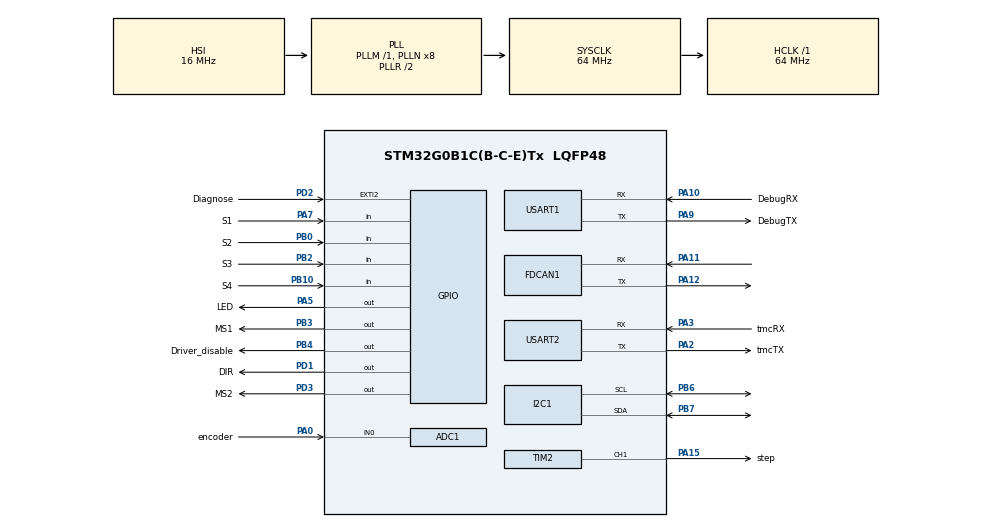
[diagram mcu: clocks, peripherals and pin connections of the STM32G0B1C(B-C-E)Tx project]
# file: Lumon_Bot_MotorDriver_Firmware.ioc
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ADC1.Channel-0\#ChannelRegularConversion=ADC_CHANNEL_0
ADC1.NbrOfConversionFlag=1
ADC1.Rank-0\#ChannelRegularConversion=1
ADC1.SamplingTime-0\#ChannelRegularConversion=ADC_SAMPLINGTIME_COMMON_1
ADC1.SelectedChannel=ADC_CHANNEL_0
ADC1.master=1
Dma.I2C1_RX.0.Direction=DMA_PERIPH_TO_MEMORY
Dma.I2C1_RX.0.EventEnable=DISABLE
Dma.I2C1_RX.0.Instance=DMA1_Channel1
Dma.I2C1_RX.0.MemDataAlignment=DMA_MDATAALIGN_BYTE
Dma.I2C1_RX.0.MemInc=DMA_MINC_ENABLE
Dma.I2C1_RX.0.Mode=DMA_NORMAL
Dma.I2C1_RX.0.PeriphDataAlignment=DMA_PDATAALIGN_BYTE
Dma.I2C1_RX.0.PeriphInc=DMA_PINC_DISABLE
Dma.I2C1_RX.0.Polarity=HAL_DMAMUX_REQ_GEN_RISING
Dma.I2C1_RX.0.Priority=DMA_PRIORITY_MEDIUM
Dma.I2C1_RX.0.RequestNumber=1
Dma.I2C1_RX.0.SignalID=NONE
Dma.I2C1_RX.0.SyncEnable=DISABLE
Dma.I2C1_RX.0.SyncPolarity=HAL_DMAMUX_SYNC_NO_EVENT
Dma.I2C1_RX.0.SyncRequestNumber=1
Dma.I2C1_RX.0.SyncSignalID=NONE
Dma.Request0=I2C1_RX
FDCAN1.CalculateBaudRateNominal=500000
FDCAN1.CalculateTimeBitNominal=2000
FDCAN1.CalculateTimeQuantumNominal=125.0
FDCAN1.NominalPrescaler=8
FDCAN1.NominalTimeSeg1=13
FDCAN1.NominalTimeSeg2=2
FDCAN1.StdFiltersNbr=2
I2C1.Timing=0x10B17DB5
Mcu.Family=STM32G0
Mcu.Name=STM32G0B1C(B-C-E)Tx
Mcu.Package=LQFP48
Mcu.UserConstants=can,$$_FDCAN1_IP_HANDLE_$$;step_timer,$$_TIM2_IP_HANDLE_$$;tmc_uart,$$_USART2_IP_HANDLE_$$;encoder_adc,$$_ADC1_IP_HANDLE_$$;encoder_i2c,$$_I2C1_IP_HANDLE_$$;debug_uart,$$_USART1_IP_HANDLE_$$;ms_timer,$$_TIM6_IP_HANDLE_$$
NVIC.DMA1_Channel1_IRQn=true\:0\:0\:false\:false\:true\:false\:true\:true
NVIC.EXTI2_3_IRQn=true\:0\:0\:false\:false\:true\:true\:true\:true
NVIC.I2C1_IRQn=true\:0\:0\:false\:false\:true\:true\:true\:true
NVIC.TIM16_FDCAN_IT0_IRQn=true\:0\:0\:false\:false\:true\:true\:true\:true
NVIC.TIM2_IRQn=true\:0\:0\:false\:false\:true\:true\:true\:true
NVIC.TIM6_DAC_LPTIM1_IRQn=true\:0\:0\:false\:false\:true\:true\:true\:true
NVIC.USART1_IRQn=true\:2\:0\:true\:false\:true\:true\:true\:true
PA0.GPIO_Label=encoder
PA0.Mode=IN0
PA0.Signal=ADC1_IN0
PA10.GPIO_Label=DebugRX
PA10.Mode=Asynchronous
PA10.Signal=USART1_RX
PA11\ [PA9].Mode=FDCAN_Activate
PA11\ [PA9].Signal=FDCAN1_RX
PA12\ [PA10].Mode=FDCAN_Activate
PA12\ [PA10].Signal=FDCAN1_TX
PA13.Mode=Serial_Wire
PA13.Signal=SYS_SWDIO
PA14-BOOT0.Mode=Serial_Wire
PA14-BOOT0.Signal=SYS_SWCLK
PA15.GPIO_Label=step
PA15.Signal=S_TIM2_CH1_ETR
PA2.GPIO_Label=tmcTX
PA2.Mode=Asynchronous
PA2.Signal=USART2_TX
PA3.GPIO_Label=tmcRX
PA3.Mode=Asynchronous
PA3.Signal=USART2_RX
PA5.GPIO_Label=LED
PA5.Signal=GPIO_Output
PA7.GPIO_Label=S1
PA7.GPIO_PuPd=GPIO_PULLDOWN
PA7.Signal=GPIO_Input
PA9.GPIO_Label=DebugTX
PA9.Mode=Asynchronous
PA9.Signal=USART1_TX
PB0.GPIO_Label=S2
PB0.GPIO_PuPd=GPIO_PULLDOWN
PB0.Signal=GPIO_Input
PB10.GPIO_Label=S4
PB10.GPIO_PuPd=GPIO_PULLDOWN
PB10.Signal=GPIO_Input
PB2.GPIO_Label=S3
PB2.GPIO_PuPd=GPIO_PULLDOWN
PB2.Signal=GPIO_Input
PB3.GPIO_Label=MS1
PB3.Signal=GPIO_Output
PB4.GPIO_Label=Driver_disable
PB4.Signal=GPIO_Output
PB6.Mode=I2C
PB6.Signal=I2C1_SCL
PB7.Mode=I2C
PB7.Signal=I2C1_SDA
PD1.GPIO_Label=DIR
PD1.Signal=GPIO_Output
PD2.GPIO_Label=Diagnose
PD2.Signal=GPXTI2
PD3.GPIO_Label=MS2
PD3.Signal=GPIO_Output
ProjectManager.HeapSize=0x200
ProjectManager.StackSize=0x400
ProjectManager.TargetToolchain=CMake
RCC.ADCFreq_Value=64000000
RCC.AHBFreq_Value=64000000
RCC.CortexFreq_Value=64000000
RCC.EXTERNAL_CLOCK_VALUE=48000
RCC.HCLKFreq_Value=64000000
RCC.HSE_VALUE=8000000
RCC.HSI48_VALUE=48000000
RCC.HSI_VALUE=16000000
RCC.LSE_VALUE=32768
RCC.SYSCLKFreq_VALUE=64000000
RCC.SYSCLKSource=RCC_SYSCLKSOURCE_PLLCLK
RCC.USBFreq_Value=48000000
RCC.VCOOutputFreq_Value=128000000
SH.S_TIM2_CH1_ETR.0=TIM2_CH1,Output Compare1 CH1
TIM2.Channel-Output\ Compare1\ CH1=TIM_CHANNEL_1
TIM2.OCMode_1=TIM_OCMODE_TOGGLE
TIM2.Period=0xFFFFFFFF
TIM2.Prescaler=64-1
TIM6.Period=1000-1
TIM6.Prescaler=64-1
USART1.VirtualMode-Asynchronous=VM_ASYNC
USART2.VirtualMode-Asynchronous=VM_ASYNC
VP_SYS_VS_DBSignals.Mode=DisableDeadBatterySignals
VP_TIM2_VS_ClockSourceINT.Mode=Internal
VP_TIM6_VS_ClockSourceINT.Mode=Enable_Timer
board=custom

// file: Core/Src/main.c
/* USER CODE BEGIN Header */
/**
  ******************************************************************************
  * @file           : main.c
  * @brief          : Main program body
  ******************************************************************************
  * @attention
  *
  * Copyright (c) 2026 STMicroelectronics.
  * All rights reserved.
  *
  * This software is licensed under terms that can be found in the LICENSE file
  * in the root directory of this software component.
  * If no LICENSE file comes with this software, it is provided AS-IS.
  *
  ******************************************************************************
  */
/* USER CODE END Header */
#include "main.h"

/* USER CODE BEGIN Includes */
#include <stdbool.h>
#include <stdint.h>
#include <stdio.h>

#include "can_bus.h"
#include "debug_helper.h"
#include "stm32g0xx_hal.h"
#include "stm32g0xx_hal_def.h"
#include "stm32g0xx_hal_tim.h"
#include "stm32g0xx_hal_uart.h"
#include "tmc2209.h"
#include "as5600.h"
#include "stepper_oc.h"
#include "motor_controller.h"
#include "tmc_stall.h"
#include "queue.h"
#include <stddef.h>

/* USER CODE END Includes */

/* USER CODE BEGIN PD */
#define MOTOR_TARGET_DELTA_COUNTS 2048.0f
#define MOTOR_PROFILE_MAX_VELOCITY_COUNTS_S 100000.0f
#define MOTOR_PROFILE_ACCEL_COUNTS_S2 100000.0f
#define MOTOR_FOLLOWING_ERROR_LIMIT_COUNTS 8192.0f
#define MOTOR_MONITOR_INTERVAL_MS 50U
#define MOTOR_KP 1.4f
#define MOTOR_KI 0.0f
#define MOTOR_KD 0.0f
#define MOTOR_SPEED_KP 0.0f
#define MOTOR_SPEED_KI 0.0f
#define MOTOR_SPEED_KD 0.0f
#define MOTOR_MAX_INTEGRAL 10000.0f
#define MOTOR_MAX_SPEED_INTEGRAL 10000.0f
#define MOTOR_MAX_VELOCITY_STEPS_S 20000.0f
#define MOTOR_MAX_ACCEL_STEPS_S2 200000.0f
#define MOTOR_STEPS_PER_ENCODER_COUNT 1.5625f
#define MOTOR_FEEDFORWARD_GAIN 1.0f
#define MOTOR_FEEDBACK_GAIN 1.0f
#define MOTOR_COMMAND_INTERVAL_S 0.100f

#define HOST_CAN_ID 0U
#define DRUM_DIAMETER_MM 5.0f
#define PI_F 3.14159265358979323846f
#define ENCODER_COUNTS_PER_REV 4096.0f
#define ENCODER_COUNTS_PER_MM \
  (ENCODER_COUNTS_PER_REV / (PI_F * DRUM_DIAMETER_MM))

/* USER CODE END PD */

/* USER CODE BEGIN PM */

#define RUN_EVERY(interval, counter, func) \
  do { \
    (counter)++; \
    if ((counter) >= (interval)) { \
      (counter) = 0; \
      func(); \
    } \
  } while (0)

/* USER CODE END PM */

ADC_HandleTypeDef hadc1;

FDCAN_HandleTypeDef hfdcan1;

I2C_HandleTypeDef hi2c1;
DMA_HandleTypeDef hdma_i2c1_rx;

TIM_HandleTypeDef htim2;
TIM_HandleTypeDef htim6;

UART_HandleTypeDef huart1;
UART_HandleTypeDef huart2;

/* USER CODE BEGIN PV */
static uint8_t debug_uart_rx_byte;
static volatile uint8_t debug_rx_char;
static volatile uint8_t debug_rx_pending = 0U;
static TMC2209_HandleTypeDef tmc = {0};
AS5600_t encoder = {0};
static volatile bool encoderReadoutReq = false;
static volatile bool encoderReadoutReady = false;
static MotorController_t motor_controller = {0};
static TMC_Stall_t stall = {0};
static volatile uint8_t motor_control_ready = 0U;
static volatile MotorFault_t motor_fault_to_print = MOTOR_FAULT_NONE;
static float can_target_counts_accumulator = 0.0f;
static const MotorControllerConfig_t motor_config = {
  .Kp = MOTOR_KP,
  .Ki = MOTOR_KI,
  .Kd = MOTOR_KD,
  .speed_Kp = MOTOR_SPEED_KP,
  .speed_Ki = MOTOR_SPEED_KI,
  .speed_Kd = MOTOR_SPEED_KD,
  .max_integral = MOTOR_MAX_INTEGRAL,
  .max_speed_integral = MOTOR_MAX_SPEED_INTEGRAL,
  .max_velocity_steps_s = MOTOR_MAX_VELOCITY_STEPS_S,
  .max_accel_steps_s2 = MOTOR_MAX_ACCEL_STEPS_S2,
  .steps_per_encoder_count = MOTOR_STEPS_PER_ENCODER_COUNT,
  .following_error_limit_counts = MOTOR_FOLLOWING_ERROR_LIMIT_COUNTS,
  .feedforward_gain = MOTOR_FEEDFORWARD_GAIN,
  .feedback_gain = MOTOR_FEEDBACK_GAIN,
  .target_delta_counts = MOTOR_TARGET_DELTA_COUNTS,
  .profile_max_velocity_counts_s = MOTOR_PROFILE_MAX_VELOCITY_COUNTS_S,
  .profile_accel_counts_s2 = MOTOR_PROFILE_ACCEL_COUNTS_S2,
  .monitor_interval_ms = MOTOR_MONITOR_INTERVAL_MS,
};

/* USER CODE END PV */

void SystemClock_Config(void);
static void MX_GPIO_Init(void);
static void MX_DMA_Init(void);
static void MX_ADC1_Init(void);
static void MX_FDCAN1_Init(void);
static void MX_I2C1_Init(void);
static void MX_TIM2_Init(void);
static void MX_USART1_UART_Init(void);
static void MX_USART2_UART_Init(void);
static void MX_TIM6_Init(void);
/* USER CODE BEGIN PFP */

static void PrintFloat3(float value);

/* USER CODE END PFP */

/* USER CODE BEGIN 0 */

uint8_t ID = 0x0F; // Controller ID
Queue position_queue;
Queue velocity_queue;
Queue tension_queue;

// Retarget printf to USART2
int _write(int file, char *ptr, int len) {
  // Retarget printf to USART2
  HAL_UART_Transmit(&debug_uart, (uint8_t*)ptr, len, HAL_MAX_DELAY);
  return len;
}

static void CAN_DebugPrintState(const char *label)
{
  FDCAN_ProtocolStatusTypeDef status = {0};

  if (HAL_FDCAN_GetProtocolStatus(&can, &status) != HAL_OK) {
    printf("CAN %s: failed to read protocol state\r\n", label);
    return;
  }

  printf("CAN %s: hal_err=0x%08lX lec=%lu bus_off=%lu passive=%lu warning=%lu tx_free=%lu\r\n",
         label,
         (unsigned long)HAL_FDCAN_GetError(&can),
         (unsigned long)status.LastErrorCode,
         (unsigned long)status.BusOff,
         (unsigned long)status.ErrorPassive,
         (unsigned long)status.Warning,
         (unsigned long)HAL_FDCAN_GetTxFifoFreeLevel(&can));
}

static void CAN_DebugPrintRx(const CAN_BusMessage_t *message)
{
  uint16_t raw_id;

  if (message == NULL) {
    return;
  }

  raw_id = CAN_Bus_makeID(message->deviceId,
                          message->messageId,
                          message->priority);

  printf("CAN RX: raw=0x%03X dest=0x%X type=0x%X priority=%u dlc=%u data=",
         raw_id,
         message->deviceId,
         (unsigned int)message->messageId,
         (unsigned int)message->priority,
         message->dlc);

  for (uint8_t i = 0U; i < message->dlc; i++) {
    printf("%02X%s", message->data[i],
           (i + 1U < message->dlc) ? " " : "");
  }
  printf("\r\n");
}

void LED_Toggle(void) { HAL_GPIO_TogglePin(LED_GPIO_Port, LED_Pin); }
static uint32_t LED_TIMER = 0;

void MotorController_OnFault(MotorFault_t fault)
{
  motor_fault_to_print = fault;
}

void HAL_GPIO_EXTI_Rising_Callback(uint16_t GPIO_Pin)
{
  if (GPIO_Pin == Diagnose_Pin) {
    TMC_Stall_DiagISR(&stall);
  }
}

void HAL_TIM_PeriodElapsedCallback(TIM_HandleTypeDef *htim)
{
  // millisecond timer
  if (htim->Instance == TIM6) {
    if (motor_control_ready != 0U) {
      MotorController_Service_1kHz(&motor_controller);
    }
    RUN_EVERY(1000, LED_TIMER, LED_Toggle);

  }
}

void HAL_TIM_OC_DelayElapsedCallback(TIM_HandleTypeDef *htim)
{
  Stepper_TIM_OC_Callback(htim);
}

void HAL_I2C_MemRxCpltCallback(I2C_HandleTypeDef *hi2c)
{
  AS5600_Done(&encoder, hi2c);
  if ((hi2c == encoder.i2c) && encoderReadoutReq) {
    encoderReadoutReady = true;
  }
}

void HAL_I2C_ErrorCallback(I2C_HandleTypeDef *hi2c)
{
  AS5600_Fail(&encoder, hi2c);
}

void HAL_UART_RxCpltCallback(UART_HandleTypeDef *huart)
{
  if (huart == &debug_uart) {
    /* Preserve the first unhandled command and ignore terminal line endings. */
    printf("Uart rx");
    if ((debug_uart_rx_byte != '\r') &&
        (debug_uart_rx_byte != '\n') &&
        (debug_rx_pending == 0U)) {
      debug_rx_char = debug_uart_rx_byte;
      debug_rx_pending = 1U;
    }

    (void)HAL_UART_Receive_IT(&debug_uart, &debug_uart_rx_byte, 1U);
  }
}

void HAL_UART_ErrorCallback(UART_HandleTypeDef *huart) {
  printf("error");
  if (huart == &debug_uart) {
    /* HAL ends interrupt reception after an error, so restart it. */
    (void)HAL_UART_Receive_IT(&debug_uart, &debug_uart_rx_byte, 1U);
  }
}

void HAL_FDCAN_RxFifo0Callback(FDCAN_HandleTypeDef *fdcan_handle, uint32_t RxFifo0ITs)
{
    if ((fdcan_handle == &can) && ((RxFifo0ITs & FDCAN_IT_RX_FIFO0_NEW_MESSAGE) != 0U)) {
      CAN_BusMessage_t message = {0};

      if (CAN_Bus_Receive(&can, &message) == HAL_OK) {
        // CAN_DebugPrintRx(&message);

        switch (CAN_Bus_GetMessageId(&message)) {
          case CAN_ID_DEBUG:{
            uint8_t debug_data = CAN_Bus_ReadU8(&message);

            switch (debug_data) {
              case 0x01:
                printf("Reset command received\n");
                NVIC_SystemReset();
                break;
              case 0x02:
                encoderReadoutReady = false;
                encoderReadoutReq = true;
                break;
            }
            break;
          }
          case CAN_ID_COMMAND: {
            uint32_t command = CAN_Bus_ReadU32(&message);
            // uint32_t command = 0b000000010100000000001111000000001010;

            // printf("Received message with command: %lu\n", (unsigned long)command);

            uint16_t position_bits = (uint16_t)(command & 0x0FFFU);
            uint16_t velocity_bits = (uint16_t)((command >> 12) & 0x0FFFU);

            int16_t position = (position_bits & 0x0800U)
                                   ? (int16_t)(position_bits - 0x1000U)
                                   : (int16_t)position_bits;
            int16_t velocity = (velocity_bits & 0x0800U)
                                   ? (int16_t)(velocity_bits - 0x1000U)
                                   : (int16_t)velocity_bits;
            uint8_t tension = (uint8_t)((command >> 24) & 0xFFU);

            printf("Received COMMAND message: position=%d, velocity=%d, tension=%u\n",
                   position, velocity, tension);

            enqueue(&position_queue, position/1000.0f);
            enqueue(&velocity_queue, velocity/100.0f);
            enqueue(&tension_queue, tension/100.0f);

            break;
          }
          case CAN_ID_SYNC: {
            float position;
            float velocity;
            float tension;
            if (dequeue(&position_queue, &position) &&
                dequeue(&velocity_queue, &velocity) &&
                dequeue(&tension_queue, &tension)) {
              /* Do not use blocking UART prints inside the FDCAN ISR. */
              float delta_counts;
              int32_t target_counts;

              /*
               * Each CAN position is the displacement since the previous
               * 100 ms sample, not an absolute offset from startup.
               */
              delta_counts = position * ENCODER_COUNTS_PER_MM;
              printf("deque delta: ");
              PrintFloat3(delta_counts);
              printf("\r\n");
              can_target_counts_accumulator += delta_counts;
              target_counts = (can_target_counts_accumulator >= 0.0f)
                                  ? (int32_t)(can_target_counts_accumulator + 0.5f)
                                  : (int32_t)(can_target_counts_accumulator - 0.5f);

      MotorController_SetTimedTarget(&motor_controller,
                                            target_counts,
                                            MOTOR_COMMAND_INTERVAL_S);
            } else {
              printf("SYNC received, but a command queue is empty\r\n");
            }
            break;
          }
          case CAN_ID_INIT: {
            int16_t angle_ticks = (int16_t)CAN_Bus_ReadU16(&message);
            MotorController_SetTarget(&motor_controller,
                                              (int32_t)angle_ticks,
                                              0.0f);
            break;
          }
          default: {

            printf("Received message with unhandled ID: 0x%03lX\r \tPriority: 0x%03lX\n", (unsigned long)CAN_Bus_GetMessageId(&message), (unsigned long)CAN_Bus_GetPriority(&message));
            break;
          }
          }
        } else {
        // CAN_DebugPrintState("RX read failed");
      }
    }
}

// #region Helper Functions
static void PrintFloat3(float value)
{
    int32_t scaled = (value >= 0.0f) ? (int32_t)(value * 1000.0f + 0.5f)
                                     : (int32_t)(value * 1000.0f - 0.5f);
    uint32_t magnitude = (scaled < 0) ? (uint32_t)(-(int64_t)scaled)
                                      : (uint32_t)scaled;

    if (scaled < 0) {
        printf("-");
    }
    printf("%lu.%03lu", (unsigned long)(magnitude / 1000U),
           (unsigned long)(magnitude % 1000U));
}

static void TMC2209_ConfigUartHandle(void)
{
    tmc.huart = &tmc_uart;
    tmc.enn_port = Driver_disable_GPIO_Port;
    tmc.enn_pin = Driver_disable_Pin;
    tmc.slave_addr = ID & 0x00U; // MS1/MS2 pins determine address in range 0..3
}

// #endregion

/* USER CODE END 0 */

int main(void)
{

  /* MCU Configuration--------------------------------------------------------*/

  /* Reset of all peripherals, Initializes the Flash interface and the Systick. */
  HAL_Init();

  /* Configure the system clock */
  SystemClock_Config();

  /* Initialize all configured peripherals */
  MX_GPIO_Init();
  MX_DMA_Init();
  MX_ADC1_Init();
  MX_FDCAN1_Init();
  MX_I2C1_Init();
  MX_TIM2_Init();
  MX_USART1_UART_Init();
  MX_USART2_UART_Init();
  MX_TIM6_Init();
  /* USER CODE BEGIN 2 */

  initQueue(&position_queue);
  initQueue(&velocity_queue);
  initQueue(&tension_queue);

  ID = (HAL_GPIO_ReadPin(S1_GPIO_Port, S1_Pin) << 3) |
       (HAL_GPIO_ReadPin(S2_GPIO_Port, S2_Pin) << 2) |
       (HAL_GPIO_ReadPin(S3_GPIO_Port, S3_Pin) << 1) |
       (HAL_GPIO_ReadPin(S4_GPIO_Port, S4_Pin));

  // #region Print System Details
  printf("\n####################### SYSTEM DETAILS ########################\n");
  uint32_t sys_clock_hz = HAL_RCC_GetSysClockFreq();
  uint32_t sys_clock_mhz = sys_clock_hz / 1000000U;
  uint32_t sys_clock_mhz_fraction =
      ((sys_clock_hz % 1000000U) * 100U + 500000U) / 1000000U;

  printf("Sys clock: %lu.%02lu MHz\n",
         (unsigned long)sys_clock_mhz,
         (unsigned long)sys_clock_mhz_fraction);
  PrintTimerFrequency("TIM2(step_timer)", &step_timer, 1U);
  PrintTimerFrequency("TIM6(ms_Timer)", &ms_timer, 1U);
  printf("#################################################################\n");
  HAL_Delay(500);

  printf("\n####################### SYSTEM INIT ########################\n");
  printf("Controller ID : ");
  printf("%01X\n", ID);
  printf("ms timer init : ");
  printf(HAL_TIM_Base_Start_IT(&ms_timer) ? "Failed\n" : "Success\n");

  printf("debug UART RX interrupt : ");
  printf(HAL_UART_Receive_IT(&debug_uart, &debug_uart_rx_byte, 1U) != HAL_OK
             ? "Failed\n"
             : "Success\n");

  Stepper_Init();
  printf("stepper init : Success\n");

  AS5600_Init(&encoder, &encoder_i2c);
  printf("AS5600 first read : ");
  printf(AS5600_Read(&encoder) ? "Failed\n" : "Started\n");

  printf("CAN init : ");
  HAL_StatusTypeDef can_init_status = CAN_Bus_Init(&can, ID);
  printf(can_init_status != HAL_OK ? "Failed\n" : "Success\n");
  printf("CAN filters: local destination=0x%X, broadcast destination=0x%X, mask=0x00F\r\n",
         ID, CAN_BROADCAST_ID);
  CAN_DebugPrintState("after init");

  TMC2209_ConfigUartHandle();
  printf("TMC UART init : ");
  printf(TMC2209_Init(&tmc) ? "Failed\n" : "Success\n");

  printf("TMC send delay : ");
  printf(TMC2209_SetSendDelay(&tmc, 8) ? "Failed\n" : "Success\n");

  printf("TMC microsteps (1/32) : ");
  printf(TMC2209_SetMicrosteps(&tmc,
                              TMC2209_MICROSTEP_32,
                              false) != HAL_OK
             ? "Failed\n"
             : "Success\n");

  printf("TMC StallGuard config : ");
  printf(TMC_Stall_Init(&stall, &tmc, &motor_controller) ? "Failed\n" : "Success\n");

  uint32_t ioin = 0;
  printf("TMC Check Connection : ");
  printf(TMC2209_CheckConnection(&tmc, &ioin) ? "Failed\n" : "Success\n");
  printf("(%08lX)\n", (unsigned long)ioin);

  MotorController_Init(&motor_controller);
  MotorController_ApplyConfig(&motor_controller, &motor_config);
  MotorController_Enable(&motor_controller);
  motor_control_ready = 1U;
  can_target_counts_accumulator =
      (float)MotorController_GetActualPosition(&motor_controller);
  printf("PID position control : Success\n");
  printf("Kp/Ki/Kd : %ld/%ld/%ld milli\n",
         (long)(MOTOR_KP * 1000.0f),
         (long)(MOTOR_KI * 1000.0f),
         (long)(MOTOR_KD * 1000.0f));

  printf("\n############################################################\n\n");
  // #endregion

  /* USER CODE END 2 */

  /* Infinite loop */
  /* USER CODE BEGIN WHILE */
  bool monitor = true;
  uint32_t status_print_tick = HAL_GetTick();
  while (1)
  {
    /* USER CODE END WHILE */

    /* USER CODE BEGIN 3 */

    if (debug_rx_pending != 0U) {
      uint8_t command = debug_rx_char;
      debug_rx_pending = 0U;

      printf("Debug command received: %c\r\n", command);
      switch (command) {
        case 'R':
          NVIC_SystemReset();
          break;
        case 'D':
          Stepper_Disable();
          break;
        case 'E':
          Stepper_Enable();
          break;
        case 'S':
          monitor = !monitor;
          break;
      }
    }

    if (encoderReadoutReq) {
      if (encoderReadoutReady) {
        uint16_t encoderData =
            ((uint16_t)(ID & 0x0FU) << 12) |
            (AS5600_Raw(&encoder) & 0x0FFFU);

        encoderReadoutReq = false;
        encoderReadoutReady = false;
        (void)CAN_Bus_SendU16(&can,
                              HOST_CAN_ID,
                              CAN_ID_ENCODER,
                              CAN_Priority_MEDIUM,
                              encoderData);
      } else if (!AS5600_Busy(&encoder)) {
        (void)AS5600_Read(&encoder);
      }
    }

    if (motor_fault_to_print != MOTOR_FAULT_NONE) {
      MotorFault_t fault = motor_fault_to_print;
      motor_fault_to_print = MOTOR_FAULT_NONE;
      printf("MOTOR FAULT: %s (%ld)\n",
             MotorController_FaultName(fault),
             (long)fault);
    }

    if (MotorController_MonitorPending(&motor_controller) != 0U && monitor) {
      MotorController_PrintMonitor(&motor_controller);
      printf("encoder mon: raw=%u abs=%ld ready=%u busy=%u error=%u\r\n",
             (unsigned int)AS5600_Raw(&encoder),
             (long)AS5600_Abs(&encoder),
             (unsigned int)AS5600_Ready(&encoder),
             (unsigned int)AS5600_Busy(&encoder),
             (unsigned int)AS5600_Error(&encoder));
    }

    if ((HAL_GetTick() - status_print_tick) >= 1000U) {
      status_print_tick += 1000U;
      printf("size: %lu/%lu\r\n",
             (unsigned long)queueSize(&position_queue),
             (unsigned long)queueCapacity());
    }
  }
  /* USER CODE END 3 */
}

void SystemClock_Config(void)
{
  RCC_OscInitTypeDef RCC_OscInitStruct = {0};
  RCC_ClkInitTypeDef RCC_ClkInitStruct = {0};

  /** Configure the main internal regulator output voltage
  */
  HAL_PWREx_ControlVoltageScaling(PWR_REGULATOR_VOLTAGE_SCALE1);

  /** Initializes the RCC Oscillators according to the specified parameters
  * in the RCC_OscInitTypeDef structure.
  */
  RCC_OscInitStruct.OscillatorType = RCC_OSCILLATORTYPE_HSI;
  RCC_OscInitStruct.HSIState = RCC_HSI_ON;
  RCC_OscInitStruct.HSIDiv = RCC_HSI_DIV1;
  RCC_OscInitStruct.HSICalibrationValue = RCC_HSICALIBRATION_DEFAULT;
  RCC_OscInitStruct.PLL.PLLState = RCC_PLL_ON;
  RCC_OscInitStruct.PLL.PLLSource = RCC_PLLSOURCE_HSI;
  RCC_OscInitStruct.PLL.PLLM = RCC_PLLM_DIV1;
  RCC_OscInitStruct.PLL.PLLN = 8;
  RCC_OscInitStruct.PLL.PLLP = RCC_PLLP_DIV2;
  RCC_OscInitStruct.PLL.PLLQ = RCC_PLLQ_DIV2;
  RCC_OscInitStruct.PLL.PLLR = RCC_PLLR_DIV2;
  if (HAL_RCC_OscConfig(&RCC_OscInitStruct) != HAL_OK)
  {
    Error_Handler();
  }

  /** Initializes the CPU, AHB and APB buses clocks
  */
  RCC_ClkInitStruct.ClockType = RCC_CLOCKTYPE_HCLK|RCC_CLOCKTYPE_SYSCLK
                              |RCC_CLOCKTYPE_PCLK1;
  RCC_ClkInitStruct.SYSCLKSource = RCC_SYSCLKSOURCE_PLLCLK;
  RCC_ClkInitStruct.AHBCLKDivider = RCC_SYSCLK_DIV1;
  RCC_ClkInitStruct.APB1CLKDivider = RCC_HCLK_DIV1;

  if (HAL_RCC_ClockConfig(&RCC_ClkInitStruct, FLASH_LATENCY_2) != HAL_OK)
  {
    Error_Handler();
  }
}

static void MX_ADC1_Init(void)
{

  ADC_ChannelConfTypeDef sConfig = {0};

  /** Configure the global features of the ADC (Clock, Resolution, Data Alignment and number of conversion)
  */
  hadc1.Instance = ADC1;
  hadc1.Init.ClockPrescaler = ADC_CLOCK_SYNC_PCLK_DIV2;
  hadc1.Init.Resolution = ADC_RESOLUTION_12B;
  hadc1.Init.DataAlign = ADC_DATAALIGN_RIGHT;
  hadc1.Init.ScanConvMode = ADC_SCAN_DISABLE;
  hadc1.Init.EOCSelection = ADC_EOC_SINGLE_CONV;
  hadc1.Init.LowPowerAutoWait = DISABLE;
  hadc1.Init.LowPowerAutoPowerOff = DISABLE;
  hadc1.Init.ContinuousConvMode = DISABLE;
  hadc1.Init.NbrOfConversion = 1;
  hadc1.Init.DiscontinuousConvMode = DISABLE;
  hadc1.Init.ExternalTrigConv = ADC_SOFTWARE_START;
  hadc1.Init.ExternalTrigConvEdge = ADC_EXTERNALTRIGCONVEDGE_NONE;
  hadc1.Init.DMAContinuousRequests = DISABLE;
  hadc1.Init.Overrun = ADC_OVR_DATA_PRESERVED;
  hadc1.Init.SamplingTimeCommon1 = ADC_SAMPLETIME_1CYCLE_5;
  hadc1.Init.SamplingTimeCommon2 = ADC_SAMPLETIME_1CYCLE_5;
  hadc1.Init.OversamplingMode = DISABLE;
  hadc1.Init.TriggerFrequencyMode = ADC_TRIGGER_FREQ_HIGH;
  if (HAL_ADC_Init(&hadc1) != HAL_OK)
  {
    Error_Handler();
  }

  /** Configure Regular Channel
  */
  sConfig.Channel = ADC_CHANNEL_0;
  sConfig.Rank = ADC_REGULAR_RANK_1;
  sConfig.SamplingTime = ADC_SAMPLINGTIME_COMMON_1;
  if (HAL_ADC_ConfigChannel(&hadc1, &sConfig) != HAL_OK)
  {
    Error_Handler();
  }

}

static void MX_FDCAN1_Init(void)
{

  hfdcan1.Instance = FDCAN1;
  hfdcan1.Init.ClockDivider = FDCAN_CLOCK_DIV1;
  hfdcan1.Init.FrameFormat = FDCAN_FRAME_CLASSIC;
  hfdcan1.Init.Mode = FDCAN_MODE_NORMAL;
  hfdcan1.Init.AutoRetransmission = DISABLE;
  hfdcan1.Init.TransmitPause = DISABLE;
  hfdcan1.Init.ProtocolException = DISABLE;
  hfdcan1.Init.NominalPrescaler = 8;
  hfdcan1.Init.NominalSyncJumpWidth = 1;
  hfdcan1.Init.NominalTimeSeg1 = 13;
  hfdcan1.Init.NominalTimeSeg2 = 2;
  hfdcan1.Init.DataPrescaler = 1;
  hfdcan1.Init.DataSyncJumpWidth = 1;
  hfdcan1.Init.DataTimeSeg1 = 1;
  hfdcan1.Init.DataTimeSeg2 = 1;
  hfdcan1.Init.StdFiltersNbr = 2;
  hfdcan1.Init.ExtFiltersNbr = 0;
  hfdcan1.Init.TxFifoQueueMode = FDCAN_TX_FIFO_OPERATION;
  if (HAL_FDCAN_Init(&hfdcan1) != HAL_OK)
  {
    Error_Handler();
  }

}

static void MX_I2C1_Init(void)
{

  hi2c1.Instance = I2C1;
  hi2c1.Init.Timing = 0x10B17DB5;
  hi2c1.Init.OwnAddress1 = 0;
  hi2c1.Init.AddressingMode = I2C_ADDRESSINGMODE_7BIT;
  hi2c1.Init.DualAddressMode = I2C_DUALADDRESS_DISABLE;
  hi2c1.Init.OwnAddress2 = 0;
  hi2c1.Init.OwnAddress2Masks = I2C_OA2_NOMASK;
  hi2c1.Init.GeneralCallMode = I2C_GENERALCALL_DISABLE;
  hi2c1.Init.NoStretchMode = I2C_NOSTRETCH_DISABLE;
  if (HAL_I2C_Init(&hi2c1) != HAL_OK)
  {
    Error_Handler();
  }

  /** Configure Analogue filter
  */
  if (HAL_I2CEx_ConfigAnalogFilter(&hi2c1, I2C_ANALOGFILTER_ENABLE) != HAL_OK)
  {
    Error_Handler();
  }

  /** Configure Digital filter
  */
  if (HAL_I2CEx_ConfigDigitalFilter(&hi2c1, 0) != HAL_OK)
  {
    Error_Handler();
  }

}

static void MX_TIM2_Init(void)
{

  TIM_ClockConfigTypeDef sClockSourceConfig = {0};
  TIM_MasterConfigTypeDef sMasterConfig = {0};
  TIM_OC_InitTypeDef sConfigOC = {0};

  htim2.Instance = TIM2;
  htim2.Init.Prescaler = 64-1;
  htim2.Init.CounterMode = TIM_COUNTERMODE_UP;
  htim2.Init.Period = 0xFFFFFFFF;
  htim2.Init.ClockDivision = TIM_CLOCKDIVISION_DIV1;
  htim2.Init.AutoReloadPreload = TIM_AUTORELOAD_PRELOAD_DISABLE;
  if (HAL_TIM_Base_Init(&htim2) != HAL_OK)
  {
    Error_Handler();
  }
  sClockSourceConfig.ClockSource = TIM_CLOCKSOURCE_INTERNAL;
  if (HAL_TIM_ConfigClockSource(&htim2, &sClockSourceConfig) != HAL_OK)
  {
    Error_Handler();
  }
  if (HAL_TIM_OC_Init(&htim2) != HAL_OK)
  {
    Error_Handler();
  }
  sMasterConfig.MasterOutputTrigger = TIM_TRGO_RESET;
  sMasterConfig.MasterSlaveMode = TIM_MASTERSLAVEMODE_DISABLE;
  if (HAL_TIMEx_MasterConfigSynchronization(&htim2, &sMasterConfig) != HAL_OK)
  {
    Error_Handler();
  }
  sConfigOC.OCMode = TIM_OCMODE_TOGGLE;
  sConfigOC.Pulse = 0;
  sConfigOC.OCPolarity = TIM_OCPOLARITY_HIGH;
  sConfigOC.OCFastMode = TIM_OCFAST_DISABLE;
  if (HAL_TIM_OC_ConfigChannel(&htim2, &sConfigOC, TIM_CHANNEL_1) != HAL_OK)
  {
    Error_Handler();
  }
  HAL_TIM_MspPostInit(&htim2);

}

static void MX_TIM6_Init(void)
{

  TIM_MasterConfigTypeDef sMasterConfig = {0};

  htim6.Instance = TIM6;
  htim6.Init.Prescaler = 64-1;
  htim6.Init.CounterMode = TIM_COUNTERMODE_UP;
  htim6.Init.Period = 1000-1;
  htim6.Init.AutoReloadPreload = TIM_AUTORELOAD_PRELOAD_DISABLE;
  if (HAL_TIM_Base_Init(&htim6) != HAL_OK)
  {
    Error_Handler();
  }
  sMasterConfig.MasterOutputTrigger = TIM_TRGO_RESET;
  sMasterConfig.MasterSlaveMode = TIM_MASTERSLAVEMODE_DISABLE;
  if (HAL_TIMEx_MasterConfigSynchronization(&htim6, &sMasterConfig) != HAL_OK)
  {
    Error_Handler();
  }

}

static void MX_USART1_UART_Init(void)
{

  huart1.Instance = USART1;
  huart1.Init.BaudRate = 115200;
  huart1.Init.WordLength = UART_WORDLENGTH_8B;
  huart1.Init.StopBits = UART_STOPBITS_1;
  huart1.Init.Parity = UART_PARITY_NONE;
  huart1.Init.Mode = UART_MODE_TX_RX;
  huart1.Init.HwFlowCtl = UART_HWCONTROL_NONE;
  huart1.Init.OverSampling = UART_OVERSAMPLING_16;
  huart1.Init.OneBitSampling = UART_ONE_BIT_SAMPLE_DISABLE;
  huart1.Init.ClockPrescaler = UART_PRESCALER_DIV1;
  huart1.AdvancedInit.AdvFeatureInit = UART_ADVFEATURE_NO_INIT;
  if (HAL_UART_Init(&huart1) != HAL_OK)
  {
    Error_Handler();
  }
  if (HAL_UARTEx_SetTxFifoThreshold(&huart1, UART_TXFIFO_THRESHOLD_1_8) != HAL_OK)
  {
    Error_Handler();
  }
  if (HAL_UARTEx_SetRxFifoThreshold(&huart1, UART_RXFIFO_THRESHOLD_1_8) != HAL_OK)
  {
    Error_Handler();
  }
  if (HAL_UARTEx_DisableFifoMode(&huart1) != HAL_OK)
  {
    Error_Handler();
  }

}

static void MX_USART2_UART_Init(void)
{

  huart2.Instance = USART2;
  huart2.Init.BaudRate = 115200;
  huart2.Init.WordLength = UART_WORDLENGTH_8B;
  huart2.Init.StopBits = UART_STOPBITS_1;
  huart2.Init.Parity = UART_PARITY_NONE;
  huart2.Init.Mode = UART_MODE_TX_RX;
  huart2.Init.HwFlowCtl = UART_HWCONTROL_NONE;
  huart2.Init.OverSampling = UART_OVERSAMPLING_16;
  huart2.Init.OneBitSampling = UART_ONE_BIT_SAMPLE_DISABLE;
  huart2.Init.ClockPrescaler = UART_PRESCALER_DIV1;
  huart2.AdvancedInit.AdvFeatureInit = UART_ADVFEATURE_NO_INIT;
  if (HAL_UART_Init(&huart2) != HAL_OK)
  {
    Error_Handler();
  }
  if (HAL_UARTEx_SetTxFifoThreshold(&huart2, UART_TXFIFO_THRESHOLD_1_8) != HAL_OK)
  {
    Error_Handler();
  }
  if (HAL_UARTEx_SetRxFifoThreshold(&huart2, UART_RXFIFO_THRESHOLD_1_8) != HAL_OK)
  {
    Error_Handler();
  }
  if (HAL_UARTEx_DisableFifoMode(&huart2) != HAL_OK)
  {
    Error_Handler();
  }

}

static void MX_DMA_Init(void)
{

  /* DMA controller clock enable */
  __HAL_RCC_DMA1_CLK_ENABLE();

  /* DMA interrupt init */
  /* DMA1_Channel1_IRQn interrupt configuration */
  HAL_NVIC_SetPriority(DMA1_Channel1_IRQn, 0, 0);
  HAL_NVIC_EnableIRQ(DMA1_Channel1_IRQn);

}

static void MX_GPIO_Init(void)
{
  GPIO_InitTypeDef GPIO_InitStruct = {0};

  /* GPIO Ports Clock Enable */
  __HAL_RCC_GPIOA_CLK_ENABLE();
  __HAL_RCC_GPIOB_CLK_ENABLE();
  __HAL_RCC_GPIOD_CLK_ENABLE();

  /*Configure GPIO pin Output Level */
  HAL_GPIO_WritePin(LED_GPIO_Port, LED_Pin, GPIO_PIN_RESET);

  /*Configure GPIO pin Output Level */
  HAL_GPIO_WritePin(GPIOD, DIR_Pin|MS2_Pin, GPIO_PIN_RESET);

  /*Configure GPIO pin Output Level */
  HAL_GPIO_WritePin(GPIOB, MS1_Pin|Driver_disable_Pin, GPIO_PIN_RESET);

  /*Configure GPIO pin : LED_Pin */
  GPIO_InitStruct.Pin = LED_Pin;
  GPIO_InitStruct.Mode = GPIO_MODE_OUTPUT_PP;
  GPIO_InitStruct.Pull = GPIO_NOPULL;
  GPIO_InitStruct.Speed = GPIO_SPEED_FREQ_LOW;
  HAL_GPIO_Init(LED_GPIO_Port, &GPIO_InitStruct);

  /*Configure GPIO pin : S1_Pin */
  GPIO_InitStruct.Pin = S1_Pin;
  GPIO_InitStruct.Mode = GPIO_MODE_INPUT;
  GPIO_InitStruct.Pull = GPIO_PULLDOWN;
  HAL_GPIO_Init(S1_GPIO_Port, &GPIO_InitStruct);

  /*Configure GPIO pins : S2_Pin S3_Pin S4_Pin */
  GPIO_InitStruct.Pin = S2_Pin|S3_Pin|S4_Pin;
  GPIO_InitStruct.Mode = GPIO_MODE_INPUT;
  GPIO_InitStruct.Pull = GPIO_PULLDOWN;
  HAL_GPIO_Init(GPIOB, &GPIO_InitStruct);

  /*Configure GPIO pins : DIR_Pin MS2_Pin */
  GPIO_InitStruct.Pin = DIR_Pin|MS2_Pin;
  GPIO_InitStruct.Mode = GPIO_MODE_OUTPUT_PP;
  GPIO_InitStruct.Pull = GPIO_NOPULL;
  GPIO_InitStruct.Speed = GPIO_SPEED_FREQ_LOW;
  HAL_GPIO_Init(GPIOD, &GPIO_InitStruct);

  /*Configure GPIO pin : Diagnose_Pin */
  GPIO_InitStruct.Pin = Diagnose_Pin;
  GPIO_InitStruct.Mode = GPIO_MODE_IT_RISING;
  GPIO_InitStruct.Pull = GPIO_NOPULL;
  HAL_GPIO_Init(Diagnose_GPIO_Port, &GPIO_InitStruct);

  /*Configure GPIO pins : MS1_Pin Driver_disable_Pin */
  GPIO_InitStruct.Pin = MS1_Pin|Driver_disable_Pin;
  GPIO_InitStruct.Mode = GPIO_MODE_OUTPUT_PP;
  GPIO_InitStruct.Pull = GPIO_NOPULL;
  GPIO_InitStruct.Speed = GPIO_SPEED_FREQ_LOW;
  HAL_GPIO_Init(GPIOB, &GPIO_InitStruct);

  /* EXTI interrupt init*/
  HAL_NVIC_SetPriority(EXTI2_3_IRQn, 0, 0);
  HAL_NVIC_EnableIRQ(EXTI2_3_IRQn);

}

void Error_Handler(void)
{
  __disable_irq();
  while (1)
  {
  }
}
